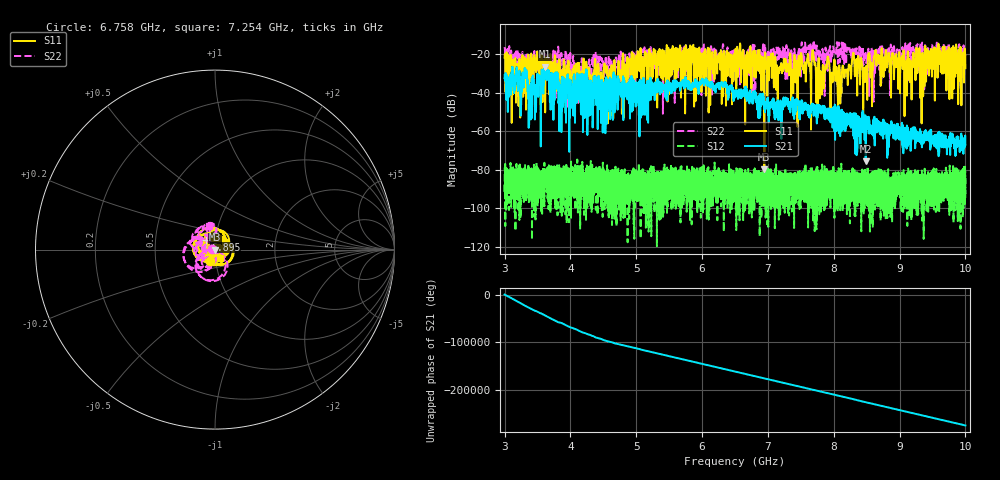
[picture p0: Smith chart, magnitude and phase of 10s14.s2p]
!Agilent Technologies,E8363B,MY43030572,A.06.04.32
!Agilent E8363B: A.06.04.32
!Date: Tuesday, June 07, 2011 09:32:52
!Correction: S11(Full 2 Port(1,2)) S21(Full 2 Port(1,2)) S12(Full 2 Port(1,2)) S22(Full 2 Port(1,2))
!S2P File: Measurements: S11, S21, S12, S22:
# Hz S  dB  R 50
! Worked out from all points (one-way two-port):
!   6401 points, 3 GHz to 10 GHz, reference 50 ohm
!   highest |S21| = -26.35 dB at 3.611 GHz (marker M1); lowest = -75.7 dB at 8.485 GHz (marker M2)
!   lowest |S11| = -79.7 dB at 6.945 GHz (marker M3), VSWR 1.00, Z = 50 - j0.00985 ohm
!   |S11| at or under -10 dB: start of sweep to end of sweep
!   |S22| runs from -50.9 to -12.8 dB; largest |S21 - S12| = 0.048
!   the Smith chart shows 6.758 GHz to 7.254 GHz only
!   S11 on the Smith chart (normalised r, x): 6.758 GHz: 0.94, -0.12; 6.895 GHz: 0.89, +0.10; 7.254 GHz: 1.05, -0.10
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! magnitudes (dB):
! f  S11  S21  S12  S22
! 3 GHz  -21.7  -30.8  -87.7  -16.2
! 3.305 GHz  -35.8  -27.4  -94.3  -26.5
! 3.383 GHz  -23.3  -37.4  -96.6  -21.1
! 3.611 GHz  -26.8  -26.3  -88.3  -20.2
! 3.852 GHz  -30.6  -41.4  -81.2  -25.8
! 4.167 GHz  -29.6  -41.9  -81.6  -24.0
! 4.467 GHz  -29.4  -34.7  -99.2  -25.9
! 4.528 GHz  -26.0  -39.6  -85.7  -25.6
! 5.334 GHz  -19.5  -33.9  -93.8  -25.3
! 6.5 GHz  -22.9  -40.5  -93.2  -23.2
! 6.758 GHz  -23.1  -43.1  -89.4  -34.7
! 6.895 GHz  -22.3  -41.4  -84.9  -22.1
! 6.945 GHz  -79.7  -45.0  -87.5  -20.5
! 7.254 GHz  -25.4  -46.5  -83.1  -17.2
! 7.667 GHz  -21.9  -48.8  -93.0  -16.8
! 7.819 GHz  -40.9  -47.6  -92.6  -21.0
! 7.905 GHz  -21.4  -51.2  -82.7  -25.0
! 8.086 GHz  -25.9  -54.4  -85.1  -19.8
! 8.31 GHz  -22.8  -63.9  -97.9  -18.9
! 8.485 GHz  -27.4  -75.7  -96.4  -19.0
! 8.834 GHz  -19.6  -57.6  -90.1  -20.7
! 10 GHz  -27.2  -67.0  -84.3  -21.0
